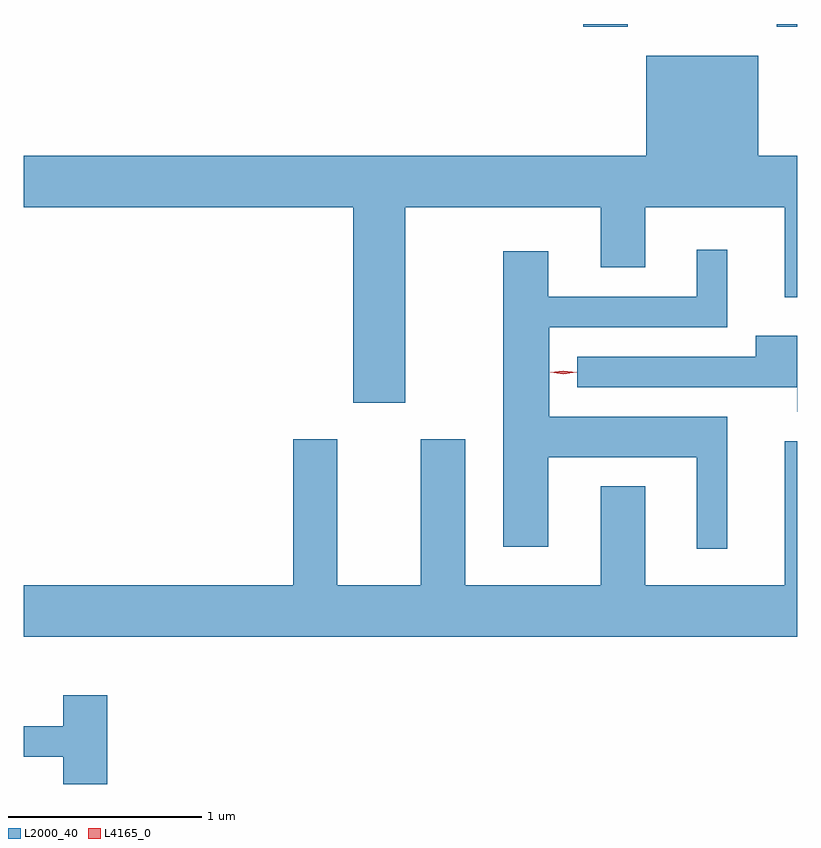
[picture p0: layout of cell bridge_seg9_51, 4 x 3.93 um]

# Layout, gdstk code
import gdstk
lib = gdstk.Library(unit=1e-6, precision=1e-09)
def R(c, l, rs):  # rectangles x0, y0, x1, y1
    for r in rs: c.add(gdstk.rectangle(r[:2], r[2:], *l))
def P(c, l, *ps):  # polygons
    for p in ps: c.add(gdstk.Polygon(p, *l))
L2000_40 = (2000, 40)
L4165_0 = (4165, 0)

bridge_seg9_51 = lib.new_cell('bridge_seg9_51')
R(bridge_seg9_51, L2000_40, [(1541.051,2001.631,1541.279,2001.644), (1542.051,2001.631,1542.157,2001.644)])
P(bridge_seg9_51, L2000_40, [(1542.091,2000.233),(1542.157,2000.233),(1542.157,2000.964),(1541.954,2000.964),(1541.954,2001.479),(1541.376,2001.479),(1541.376,2000.964),(1538.157,2000.964),(1538.157,2000.696),(1539.861,2000.696),(1539.861,1999.686),(1540.129,1999.686),(1540.129,2000.696),(1541.141,2000.696),(1541.141,2000.386),(1541.369,2000.386),(1541.369,2000.696),(1542.091,2000.696)],
  [(1541.794,1999.614),(1540.874,1999.614),(1540.874,2000.076),(1541.794,2000.076),(1541.794,2000.478),(1541.636,2000.478),(1541.636,2000.234),(1540.869,2000.234),(1540.869,2000.469),(1540.636,2000.469),(1540.636,1998.941),(1540.869,1998.941),(1540.869,1999.406),(1541.636,1999.406),(1541.636,1998.933),(1541.794,1998.933)],
  [(1542.157,2000.034),(1541.941,2000.034),(1541.941,1999.924),(1541.018,1999.924),(1541.018,1999.766),(1542.156,1999.766),(1542.156,1999.641),(1542.157,1999.641)],
  [(1542.157,1999.488),(1542.091,1999.488),(1542.091,1998.744),(1541.369,1998.744),(1541.369,1999.254),(1541.141,1999.254),(1541.141,1998.744),(1540.439,1998.744),(1540.439,1999.499),(1540.211,1999.499),(1540.211,1998.744),(1539.779,1998.744),(1539.779,1999.499),(1539.551,1999.499),(1539.551,1998.744),(1538.157,1998.744),(1538.157,1998.476),(1542.157,1998.476)],
  [(1538.589,1998.174),(1538.361,1998.174),(1538.361,1998.014),(1538.157,1998.014),(1538.157,1997.856),(1538.361,1997.856),(1538.361,1997.716),(1538.589,1997.716)])
P(bridge_seg9_51, L4165_0, [(1540.946,1999.833),(1540.88,1999.843),(1540.88,1999.843),(1540.88,1999.844),(1540.946,1999.853),(1541.012,1999.844),(1541.013,1999.843),(1541.012,1999.843)],
  [(1540.947,1999.833),(1540.878,1999.843),(1540.877,1999.843),(1540.878,1999.844),(1540.947,1999.853),(1541.016,1999.844),(1541.016,1999.843),(1541.016,1999.843)])

lib.write_gds('bridge_seg9_51.gds')
